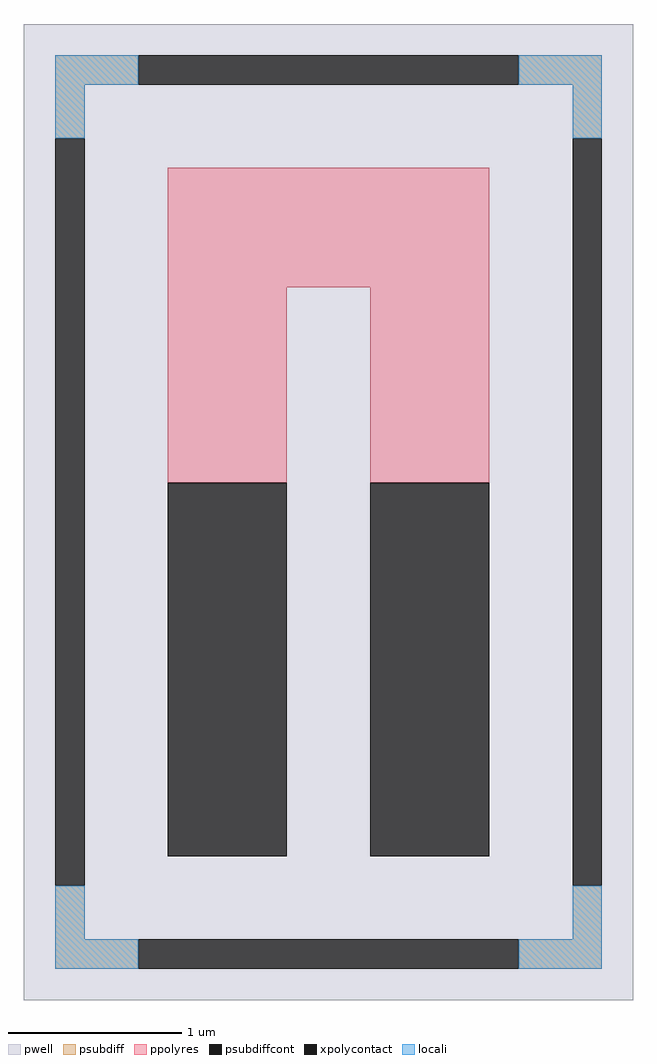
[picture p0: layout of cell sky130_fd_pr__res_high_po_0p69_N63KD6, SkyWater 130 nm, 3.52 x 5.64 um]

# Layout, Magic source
magic
tech sky130A
<< pwell >>
rect -176 -282 176 282
<< psubdiff >>
rect -158 247 -110 264
rect 110 247 158 264
rect -158 216 -141 247
rect 141 216 158 247
rect -158 -247 -141 -216
rect 141 -247 158 -216
rect -158 -264 -110 -247
rect 110 -264 158 -247
<< psubdiffcont >>
rect -110 247 110 264
rect -158 -216 -141 216
rect 141 -216 158 216
rect -110 -264 110 -247
<< xpolycontact >>
rect -93 -199 -24 17
rect 24 -199 93 17
<< ppolyres >>
rect -93 130 93 199
rect -93 17 -24 130
rect 24 17 93 130
<< locali >>
rect -158 247 -110 264
rect 110 247 158 264
rect -158 216 -141 247
rect 141 216 158 247
rect -158 -247 -141 -216
rect 141 -247 158 -216
rect -158 -264 -110 -247
rect 110 -264 158 -247
<< properties >>
string FIXED_BBOX -149 -255 149 255
string gencell sky130_fd_pr__res_high_po_0p69
string library sky130
string parameters w 0.69 l 1.3 m 1 nx 2 wmin 0.690 lmin 0.50 rho 319.8 val 2.089k dummy 0 dw 0.0 term 194.82 sterm 0.0 caplen 0 guard 1 glc 1 grc 1 gtc 1 gbc 1 compatible {sky130_fd_pr__res_high_po_0p35  sky130_fd_pr__res_high_po_0p69 sky130_fd_pr__res_high_po_1p41  sky130_fd_pr__res_high_po_2p85 sky130_fd_pr__res_high_po_5p73} snake 1 full_metal 1 wmax 0.690 n_guard 0 hv_guard 0 vias 1 viagb 0 viagt 0 viagl 0 viagr 0
<< end >>
